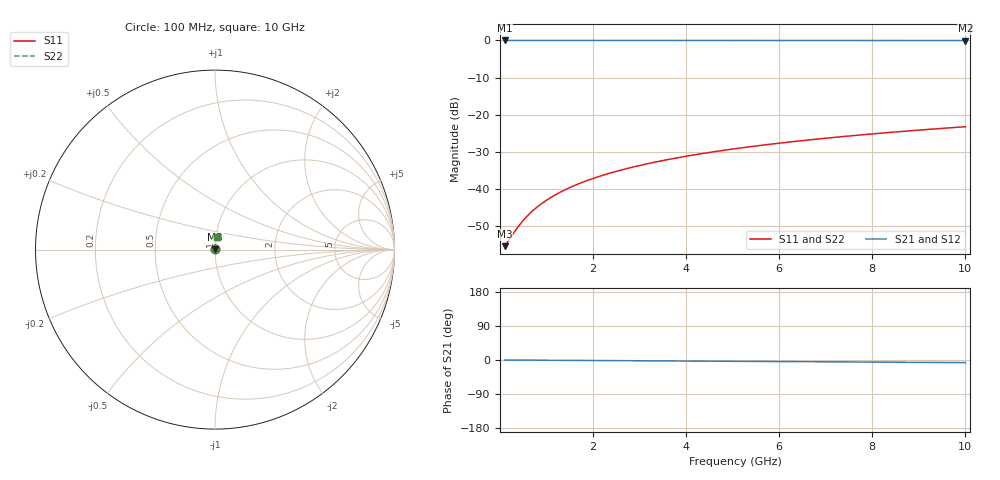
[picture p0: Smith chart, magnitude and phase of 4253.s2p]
# Hz S RI R 50.00
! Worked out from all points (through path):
!   100 points, 100 MHz to 10 GHz, reference 50 ohm
!   highest |S21| = -0.01 dB at 100 MHz (marker M1); lowest = 0.0 dB at 10 GHz (marker M2)
!   lowest |S11| = -55.3 dB at 100 MHz (marker M3), VSWR 1.00, Z = 50.2 + j0.0692 ohm
!   |S11| at or under -10 dB: start of sweep to end of sweep
!   |S22| runs from -55.3 to -23.2 dB; largest |S21 - S12| = 0
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1e8  0.00157 0.00069  0.9984 -0.00119  0.9984 -0.00119  0.00157 0.00069
2e8  0.00158 0.00138  0.9984 -0.00238  0.9984 -0.00238  0.00158 0.00138
3e8  0.00159 0.00207  0.9984 -0.00358  0.9984 -0.00358  0.00159 0.00207
4e8  0.0016 0.00276  0.9984 -0.00477  0.9984 -0.00477  0.0016 0.00276
5e8  0.00162 0.00345  0.9984 -0.00596  0.9984 -0.00596  0.00162 0.00345
6e8  0.00163 0.00414  0.9984 -0.00715  0.9984 -0.00715  0.00163 0.00414
7e8  0.00165 0.00483  0.9983 -0.00834  0.9983 -0.00834  0.00165 0.00483
8e8  0.00166 0.00552  0.9983 -0.00953  0.9983 -0.00953  0.00166 0.00552
1e9  0.0017 0.0069  0.9983 -0.0119  0.9983 -0.0119  0.0017 0.0069
1.2e9  0.00174 0.00828  0.9982 -0.0143  0.9982 -0.0143  0.00174 0.00828
1.5e9  0.00181 0.0103  0.9981 -0.0179  0.9981 -0.0179  0.00181 0.0103
1.8e9  0.0019 0.0124  0.998 -0.0215  0.998 -0.0215  0.0019 0.0124
2.1e9  0.002 0.0145  0.9979 -0.025  0.9979 -0.025  0.002 0.0145
2.5e9  0.00216 0.0172  0.9977 -0.0298  0.9977 -0.0298  0.00216 0.0172
2.9e9  0.00235 0.02  0.9975 -0.0346  0.9975 -0.0346  0.00235 0.02
3.4e9  0.00262 0.0234  0.9972 -0.0405  0.9972 -0.0405  0.00262 0.0234
4.2e9  0.00313 0.0289  0.9966 -0.05  0.9966 -0.05  0.00313 0.0289
5.1e9  0.00383 0.0351  0.9958 -0.0607  0.9958 -0.0607  0.00383 0.0351
5.9e9  0.00456 0.0406  0.995 -0.0703  0.995 -0.0703  0.00456 0.0406
6.7e9  0.0054 0.046  0.994 -0.0798  0.994 -0.0798  0.0054 0.046
8.4e9  0.00754 0.0576  0.9915 -0.0999  0.9915 -0.0999  0.00754 0.0576
1e10  0.00998 0.0684  0.9887 -0.1188  0.9887 -0.1188  0.00998 0.0684
